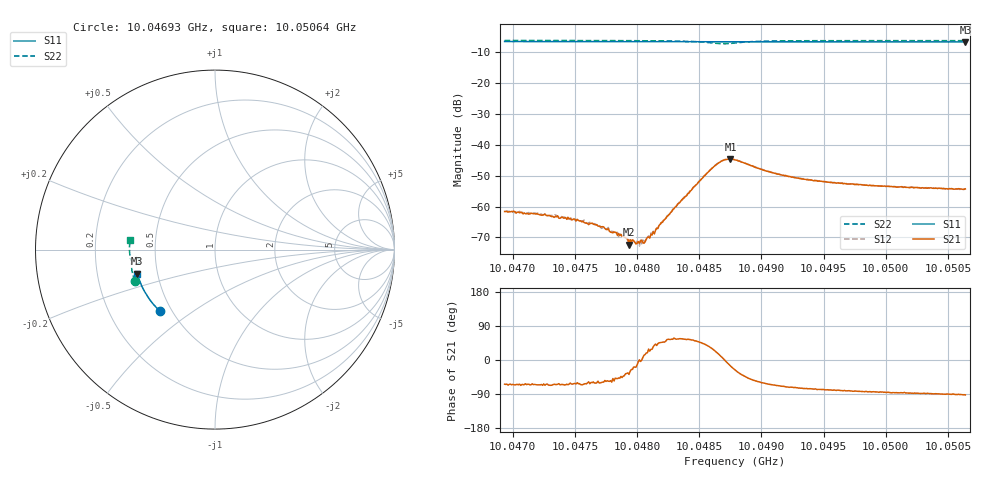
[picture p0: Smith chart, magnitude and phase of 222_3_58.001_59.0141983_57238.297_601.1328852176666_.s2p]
#  HZ  S  RI  R  50.00
! Rohde & Schwarz Vector Network Analyzer
! Rohde-Schwarz,ZNB20-2Port,1311601062101988,3.16
! Created: UTC 3/21/2024, 1:00:12 AM
! freq[Hz]  re:S11  im:S11  re:S21  im:S21  re:S12  im:S12  re:S22  im:S22
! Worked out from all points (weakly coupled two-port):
!   401 points, 10.04693 GHz to 10.05064 GHz, reference 50 ohm
!   highest |S21| = -44.71 dB at 10.04875 GHz (marker M1); lowest = -72.3 dB at 10.04793 GHz (marker M2)
!   lowest |S11| = -6.9 dB at 10.05064 GHz (marker M3), VSWR 2.66, Z = 19.1 - j6.49 ohm
!   |S11| at or under -10 dB: nowhere
!   |S22| runs from -7.5 to -6.4 dB; largest |S21 - S12| = 0.00039
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1.0046934e10  -0.309 -0.3416  0.000366 -0.000746  0.000396 -0.000733  -0.4469 -0.174
1.0047175e10  -0.3204 -0.3302  0.000332 -0.00069  0.000401 -0.000677  -0.4521 -0.1582
1.0047333e10  -0.3275 -0.3226  0.000292 -0.000601  0.000352 -0.000617  -0.4552 -0.1477
1.0047555e10  -0.3373 -0.3117  0.000236 -0.000513  0.000291 -0.000513  -0.4591 -0.1325
1.0047657e10  -0.3418 -0.3065  0.00025 -0.000447  0.000284 -0.000445  -0.4608 -0.1252
1.0047768e10  -0.3465 -0.3009  0.000245 -0.000362  0.000285 -0.000361  -0.4626 -0.1174
1.004787e10  -0.3507 -0.2956  0.000259 -0.000243  0.000268 -0.000227  -0.4638 -0.1097
1.0047935e10  -0.3533 -0.2922  0.000191 -0.000149  0.000258 -0.000158  -0.4644 -0.1046
1.0048e10  -0.3559 -0.2887  0.000248 -5.83e-05  0.000275 -2.54e-05  -0.465 -0.0995
1.0048028e10  -0.3571 -0.2874  0.000279 -1.91e-05  0.000298 3.31e-05  -0.4653 -0.0972
1.0048065e10  -0.3586 -0.2854  0.000261 6.78e-05  0.000263 8.29e-05  -0.4654 -0.0942
1.004812e10  -0.3608 -0.2825  0.000306 0.000165  0.000299 0.000206  -0.4657 -0.0895
1.0048176e10  -0.363 -0.2796  0.000348 0.000351  0.000301 0.000381  -0.4657 -0.0844
1.0048333e10  -0.3689 -0.2709  0.000634 0.000926  0.000579 0.000983  -0.4637 -0.069
1.0048602e10  -0.3784 -0.256  0.00357 0.00208  0.00347 0.00228  -0.4357 -0.045
1.0048685e10  -0.381 -0.2515  0.00546 0.000593  0.00544 0.000894  -0.4203 -0.0568
1.004875e10  -0.3833 -0.2481  0.00561 -0.00155  0.00573 -0.0012  -0.4221 -0.0733
1.0048787e10  -0.3845 -0.2461  0.00508 -0.0025  0.00527 -0.00221  -0.4288 -0.0797
1.0049121e10  -0.3958 -0.2271  0.00131 -0.00311  0.00152 -0.00305  -0.4679 -0.0583
1.0049408e10  -0.4045 -0.2104  0.000628 -0.00258  0.000745 -0.00255  -0.4741 -0.0333
1.0050029e10  -0.4209 -0.1727  0.000164 -0.00212  0.000268 -0.00208  -0.4763 0.0127
1.005064e10  -0.4337 -0.1347  -7.13e-05 -0.00192  6.94e-05 -0.0019  -0.4733 0.0545
